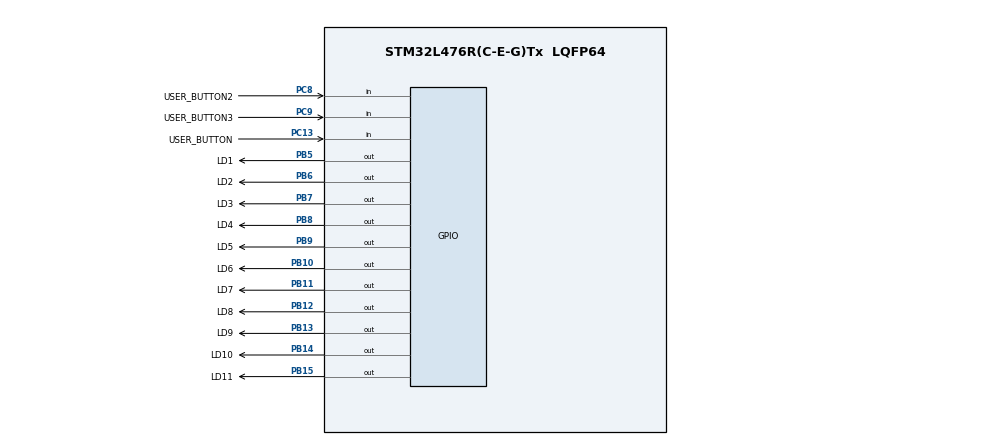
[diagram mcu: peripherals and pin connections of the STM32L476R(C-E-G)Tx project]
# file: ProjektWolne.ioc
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Mcu.Family=STM32L4
Mcu.Name=STM32L476R(C-E-G)Tx
Mcu.Package=LQFP64
NVIC.PriorityGroup=NVIC_PRIORITYGROUP_4
PB10.GPIO_Label=LD6
PB10.Signal=GPIO_Output
PB11.GPIO_Label=LD7
PB11.Signal=GPIO_Output
PB12.GPIO_Label=LD8
PB12.Signal=GPIO_Output
PB13.GPIO_Label=LD9
PB13.Signal=GPIO_Output
PB14.GPIO_Label=LD10
PB14.Signal=GPIO_Output
PB15.GPIO_Label=LD11
PB15.Signal=GPIO_Output
PB5.GPIO_Label=LD1
PB5.Signal=GPIO_Output
PB6.GPIO_Label=LD2
PB6.Signal=GPIO_Output
PB7.GPIO_Label=LD3
PB7.Signal=GPIO_Output
PB8.GPIO_Label=LD4
PB8.Signal=GPIO_Output
PB9.GPIO_Label=LD5
PB9.Signal=GPIO_Output
PC13.GPIO_Label=USER_BUTTON
PC13.Signal=GPIO_Input
PC8.GPIO_Label=USER_BUTTON2
PC8.GPIO_PuPd=GPIO_PULLUP
PC8.Signal=GPIO_Input
PC9.GPIO_Label=USER_BUTTON3
PC9.GPIO_PuPd=GPIO_PULLUP
PC9.Signal=GPIO_Input
ProjectManager.HeapSize=0x200
ProjectManager.StackSize=0x400
ProjectManager.TargetToolchain=STM32CubeIDE
RCC.HSE_VALUE=8000000
RCC.HSI_VALUE=16000000
RCC.LSE_VALUE=32768
RCC.MSI_VALUE=4000000
RCC.VCOOutputFreq_Value=32000000
board=custom

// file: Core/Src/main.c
/* USER CODE BEGIN Header */
/**
  ******************************************************************************
  * @file           : main.c
  * @brief          : Main program body
  ******************************************************************************
  * @attention
  *
  * Copyright (c) 2023 STMicroelectronics.
  * All rights reserved.
  *
  * This software is licensed under terms that can be found in the LICENSE file
  * in the root directory of this software component.
  * If no LICENSE file comes with this software, it is provided AS-IS.
  *
  ******************************************************************************
  */
/* USER CODE END Header */
#include "main.h"

/* USER CODE BEGIN Includes */
#include <stdbool.h>
/* USER CODE END Includes */

void SystemClock_Config(void);
static void MX_GPIO_Init(void);

/* USER CODE BEGIN 0 */

typedef struct {
	GPIO_TypeDef* port;
	uint16_t pin;
}pin_t;

static const pin_t LED[] = {
		{ LD1_GPIO_Port, LD1_Pin },
		{ LD2_GPIO_Port, LD2_Pin },
		{ LD3_GPIO_Port, LD3_Pin },
		{ LD4_GPIO_Port, LD4_Pin },
		{ LD5_GPIO_Port, LD5_Pin },
		{ LD6_GPIO_Port, LD6_Pin },
		{ LD7_GPIO_Port, LD7_Pin },
		{ LD8_GPIO_Port, LD8_Pin },
		{ LD9_GPIO_Port, LD9_Pin },
		{ LD10_GPIO_Port, LD10_Pin }
};

void led_set(int led, bool turn_on)
{

  GPIO_PinState state = (turn_on) ? GPIO_PIN_SET : GPIO_PIN_RESET;

	if (led >= 0 && led < 10) {
		HAL_GPIO_WritePin( LED[led].port ,LED[led].pin, state);
	}
}

bool is_button_pressed(int button) {

 switch (button) {
  case 0:
    if (HAL_GPIO_ReadPin(USER_BUTTON3_GPIO_Port, USER_BUTTON3_Pin) == GPIO_PIN_RESET) {
      return true;
    } else {
      return false;
    }
  case 1:
    if (HAL_GPIO_ReadPin(USER_BUTTON2_GPIO_Port, USER_BUTTON2_Pin) == GPIO_PIN_RESET) {
      return true;
    } else {
      return false;
    }

  default:
    return false;
  }

}

/* USER CODE END 0 */

int main(void)
{

  /* MCU Configuration--------------------------------------------------------*/

  /* Reset of all peripherals, Initializes the Flash interface and the Systick. */
  HAL_Init();

  /* Configure the system clock */
  SystemClock_Config();

  /* Initialize all configured peripherals */
  MX_GPIO_Init();
  /* USER CODE BEGIN 2 */

  as
  /* USER CODE END 2 */

  /* Infinite loop */
  /* USER CODE BEGIN WHILE */

  int led = 0;
  led_set(led, true);
  while (1) //----------------------------------------------------------------------------------
  {

if (is_button_pressed(0)) {
		// Po wcisnieciu przycisku wylacz diodę
		led_set(led, false);

		// Zwieksz zawartosc zmiennej led
		led++;
		// Sprawdz czy nie przekracza zakresu
		if (led >= 10) {
		  led = 0;
		}

		// Wlacz kolejna diode
		led_set(led, true);

		// czekamy na zwolnienie przycisku
		while (is_button_pressed(0)) {}

	}

	if (is_button_pressed(1)) {
		// Po wcisnieciu przycisku wylacz diodę
		led_set(led, false);

		// Zmniejsz zawartosc zmiennej led
		led--;
		// Sprawdz czy nie przekracza zakresu
		if (led < 0) {
		  led = 9;
		}

		// Wlacz kolejna diode
		led_set(led, true);

		// czekamy na zwolnienie przycisku
		while (is_button_pressed(1)) {}
	}

    /* USER CODE END WHILE */

  }
}

void SystemClock_Config(void)
{
  RCC_OscInitTypeDef RCC_OscInitStruct = {0};
  RCC_ClkInitTypeDef RCC_ClkInitStruct = {0};

  /** Configure the main internal regulator output voltage
  */
  if (HAL_PWREx_ControlVoltageScaling(PWR_REGULATOR_VOLTAGE_SCALE1) != HAL_OK)
  {
    Error_Handler();
  }

  /** Initializes the RCC Oscillators according to the specified parameters
  * in the RCC_OscInitTypeDef structure.
  */
  RCC_OscInitStruct.OscillatorType = RCC_OSCILLATORTYPE_MSI;
  RCC_OscInitStruct.MSIState = RCC_MSI_ON;
  RCC_OscInitStruct.MSICalibrationValue = 0;
  RCC_OscInitStruct.MSIClockRange = RCC_MSIRANGE_6;
  RCC_OscInitStruct.PLL.PLLState = RCC_PLL_NONE;
  if (HAL_RCC_OscConfig(&RCC_OscInitStruct) != HAL_OK)
  {
    Error_Handler();
  }

  /** Initializes the CPU, AHB and APB buses clocks
  */
  RCC_ClkInitStruct.ClockType = RCC_CLOCKTYPE_HCLK|RCC_CLOCKTYPE_SYSCLK
                              |RCC_CLOCKTYPE_PCLK1|RCC_CLOCKTYPE_PCLK2;
  RCC_ClkInitStruct.SYSCLKSource = RCC_SYSCLKSOURCE_MSI;
  RCC_ClkInitStruct.AHBCLKDivider = RCC_SYSCLK_DIV1;
  RCC_ClkInitStruct.APB1CLKDivider = RCC_HCLK_DIV1;
  RCC_ClkInitStruct.APB2CLKDivider = RCC_HCLK_DIV1;

  if (HAL_RCC_ClockConfig(&RCC_ClkInitStruct, FLASH_LATENCY_0) != HAL_OK)
  {
    Error_Handler();
  }
}

static void MX_GPIO_Init(void)
{
  GPIO_InitTypeDef GPIO_InitStruct = {0};

  /* GPIO Ports Clock Enable */
  __HAL_RCC_GPIOC_CLK_ENABLE();
  __HAL_RCC_GPIOB_CLK_ENABLE();

  /*Configure GPIO pin Output Level */
  HAL_GPIO_WritePin(GPIOB, LD6_Pin|LD7_Pin|LD8_Pin|LD9_Pin
                          |LD10_Pin|LD11_Pin|LD1_Pin|LD2_Pin
                          |LD3_Pin|LD4_Pin|LD5_Pin, GPIO_PIN_RESET);

  /*Configure GPIO pin : USER_BUTTON_Pin */
  GPIO_InitStruct.Pin = USER_BUTTON_Pin;
  GPIO_InitStruct.Mode = GPIO_MODE_INPUT;
  GPIO_InitStruct.Pull = GPIO_NOPULL;
  HAL_GPIO_Init(USER_BUTTON_GPIO_Port, &GPIO_InitStruct);

  /*Configure GPIO pins : LD6_Pin LD7_Pin LD8_Pin LD9_Pin
                           LD10_Pin LD11_Pin LD1_Pin LD2_Pin
                           LD3_Pin LD4_Pin LD5_Pin */
  GPIO_InitStruct.Pin = LD6_Pin|LD7_Pin|LD8_Pin|LD9_Pin
                          |LD10_Pin|LD11_Pin|LD1_Pin|LD2_Pin
                          |LD3_Pin|LD4_Pin|LD5_Pin;
  GPIO_InitStruct.Mode = GPIO_MODE_OUTPUT_PP;
  GPIO_InitStruct.Pull = GPIO_NOPULL;
  GPIO_InitStruct.Speed = GPIO_SPEED_FREQ_LOW;
  HAL_GPIO_Init(GPIOB, &GPIO_InitStruct);

  /*Configure GPIO pins : USER_BUTTON2_Pin USER_BUTTON3_Pin */
  GPIO_InitStruct.Pin = USER_BUTTON2_Pin|USER_BUTTON3_Pin;
  GPIO_InitStruct.Mode = GPIO_MODE_INPUT;
  GPIO_InitStruct.Pull = GPIO_PULLUP;
  HAL_GPIO_Init(GPIOC, &GPIO_InitStruct);

}

void Error_Handler(void)
{
  __disable_irq();
  while (1)
  {
  }
}
